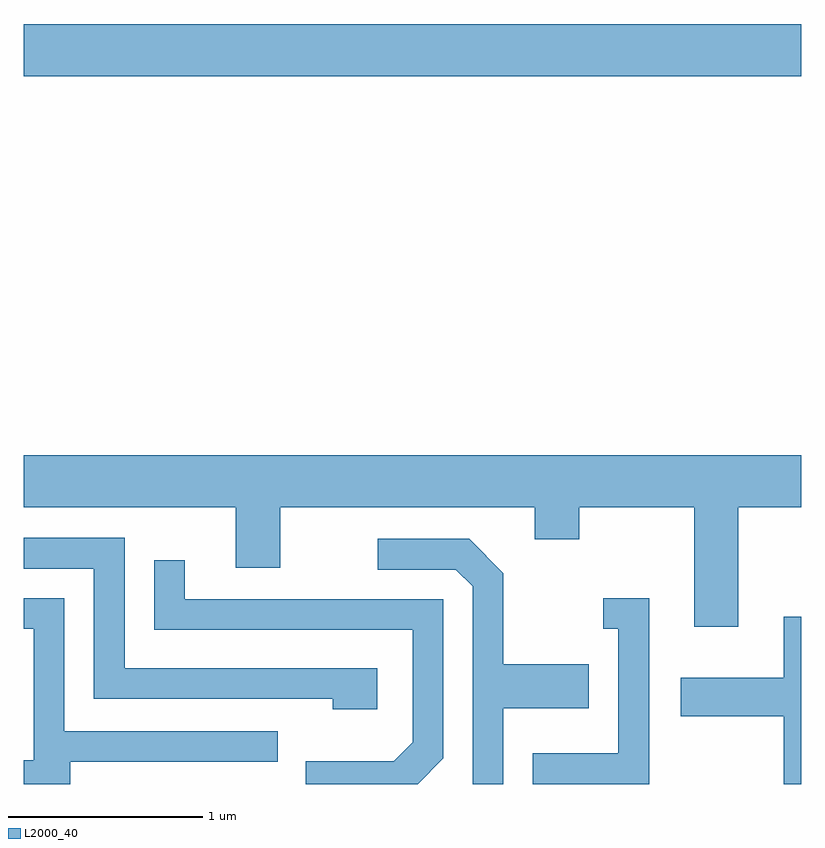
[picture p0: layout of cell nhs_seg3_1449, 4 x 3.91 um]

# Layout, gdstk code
import gdstk
lib = gdstk.Library(unit=1e-6, precision=1e-09)
def R(c, l, rs):  # rectangles x0, y0, x1, y1
    for r in rs: c.add(gdstk.rectangle(r[:2], r[2:], *l))
def P(c, l, *ps):  # polygons
    for p in ps: c.add(gdstk.Polygon(p, *l))
L2000_40 = (2000, 40)

nhs_seg3_1449 = lib.new_cell('nhs_seg3_1449')
R(nhs_seg3_1449, L2000_40, [(227.611,1161.536,231.611,1161.804)])
P(nhs_seg3_1449, L2000_40, [(231.289,1159.316),(231.611,1159.316),(231.611,1159.584),(227.611,1159.584),(227.611,1159.316),(228.701,1159.316),(228.701,1159.006),(228.929,1159.006),(228.929,1159.316),(230.241,1159.316),(230.241,1159.151),(230.469,1159.151),(230.469,1159.316),(231.061,1159.316),(231.061,1158.701),(231.289,1158.701)],
  [(229.429,1158.489),(228.129,1158.489),(228.129,1159.159),(227.611,1159.159),(227.611,1159.001),(227.971,1159.001),(227.971,1158.331),(229.201,1158.331),(229.201,1158.276),(229.429,1158.276)],
  [(230.079,1158.281),(230.519,1158.281),(230.519,1158.509),(230.079,1158.509),(230.079,1158.977),(229.902,1159.154),(229.433,1159.154),(229.433,1158.996),(229.834,1158.996),(229.921,1158.909),(229.921,1157.892),(230.079,1157.892)],
  [(229.769,1158.024),(229.769,1158.844),(228.439,1158.844),(228.439,1159.043),(228.281,1159.043),(228.281,1158.686),(229.611,1158.686),(229.611,1158.107),(229.514,1158.009),(229.061,1158.009),(229.061,1157.892),(229.638,1157.892)],
  [(227.849,1158.006),(228.918,1158.006),(228.918,1158.164),(227.819,1158.164),(227.819,1158.849),(227.611,1158.849),(227.611,1158.691),(227.661,1158.691),(227.661,1158.014),(227.611,1158.014),(227.611,1157.892),(227.849,1157.892)],
  [(230.829,1158.849),(230.593,1158.849),(230.593,1158.691),(230.671,1158.691),(230.671,1158.049),(230.231,1158.049),(230.231,1157.892),(230.829,1157.892)],
  [(231.611,1158.754),(231.521,1158.754),(231.521,1158.439),(230.991,1158.439),(230.991,1158.241),(231.521,1158.241),(231.521,1157.892),(231.611,1157.892)])

lib.write_gds('nhs_seg3_1449.gds')
